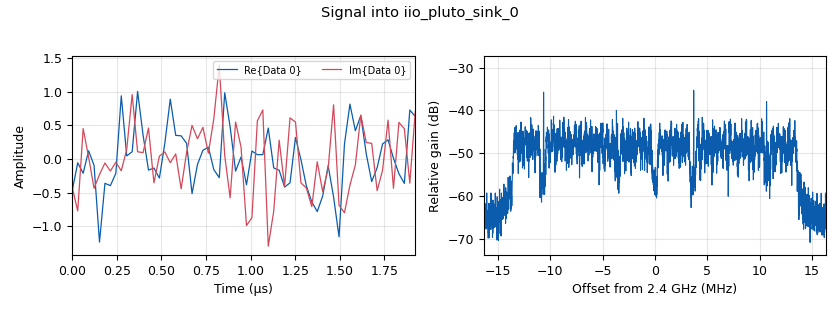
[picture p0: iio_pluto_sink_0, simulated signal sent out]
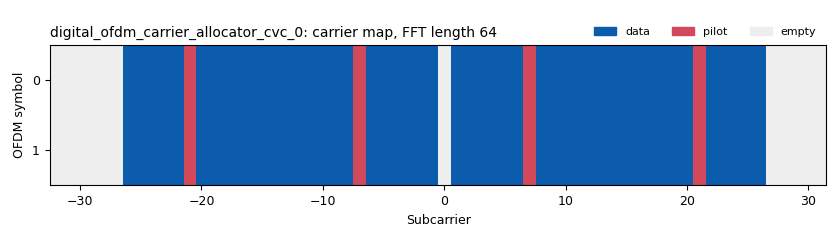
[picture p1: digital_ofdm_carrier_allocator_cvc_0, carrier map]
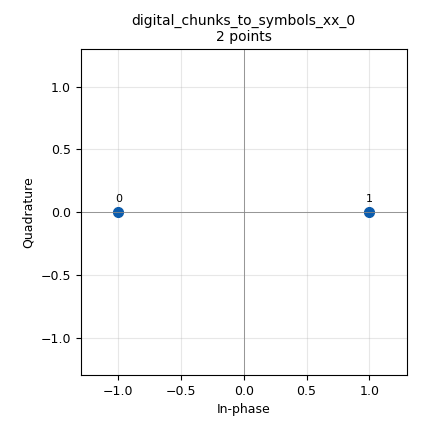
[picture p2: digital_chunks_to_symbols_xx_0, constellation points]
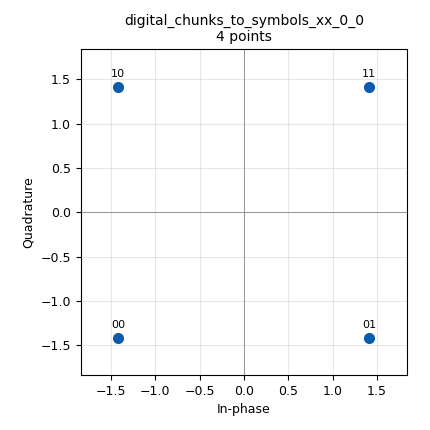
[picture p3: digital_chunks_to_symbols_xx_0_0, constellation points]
options:
  parameters:
    author: mmsuri
    generate_options: qt_gui
    id: ofdm_lab4
    output_language: python
    title: OFDM Lab 4
  states: {}

blocks:
- name: fft_len
  id: variable
  parameters:
    value: '64'
  states: {}
- name: header_equalizer
  id: variable
  parameters:
    value: digital.ofdm_equalizer_simpledfe(fft_len, header_mod.base(), occupied_carriers, pilot_carriers, pilot_symbols)
  states: {}
- name: header_formatter
  id: variable
  parameters:
    value: digital.packet_header_ofdm(occupied_carriers, n_syms=1, len_tag_key=length_tag_key, frame_len_tag_key=length_tag_key, bits_per_header_sym=header_mod.bits_per_symbol(), bits_per_payload_sym=payload_mod.bits_per_symbol(), scramble_header=False)
  states: {}
- name: header_mod
  id: variable
  parameters:
    value: digital.constellation_bpsk()
  states: {}
- name: length_tag_key
  id: variable
  parameters:
    value: '"frame_len"'
  states: {}
- name: occupied_carriers
  id: variable
  parameters:
    value: (list(range(-26, -21)) + list(range(-20, -7)) + list(range(-6, 0)) + list(range(1, 7)) + list(range(8, 21)) + list(range(22, 27)),)
  states: {}
- name: packet_len
  id: variable
  parameters:
    value: '96'
  states: {}
- name: packet_length_tag_key
  id: variable
  parameters:
    value: '"packet_len"'
  states: {}
- name: payload_equalizer
  id: variable
  parameters:
    value: digital.ofdm_equalizer_simpledfe(fft_len, payload_mod.base(), occupied_carriers, pilot_carriers, pilot_symbols, 1)
  states: {}
- name: payload_mod
  id: variable
  parameters:
    value: digital.constellation_qpsk()
  states: {}
- name: pilot_carriers
  id: variable
  parameters:
    value: ((-21, -7, 7, 21,),)
  states: {}
- name: pilot_symbols
  id: variable
  parameters:
    value: ((1, 1, 1, -1,),)
  states: {}
- name: rolloff
  id: variable
  parameters:
    value: '0'
  states: {}
- name: samp_rate
  id: variable
  parameters:
    value: '32000'
  states: {state: disabled}
- name: samp_rate
  id: variable
  parameters:
    value: '61440000'
  states: {}
- name: sync_word1
  id: variable
  parameters:
    value: '[0., 0., 0., 0., 0., 0., 0., 1.41421356, 0., -1.41421356, 0., 1.41421356, 0., -1.41421356, 0., -1.41421356, 0., -1.41421356, 0., 1.41421356, 0., -1.41421356, 0., 1.41421356, 0., -1.41421356, 0., -1.41421356, 0., -1.41421356, 0., -1.41421356, 0., 1.41421356, 0., -1.41421356, 0., 1.41421356, 0., 1.41421356, 0., 1.41421356, 0., -1.41421356, 0., 1.41421356, 0., 1.41421356, 0., 1.41421356, 0., -1.41421356, 0., 1.41421356, 0., 1.41421356, 0., 1.41421356, 0., 0., 0., 0., 0., 0.]'
  states: {}
- name: sync_word2
  id: variable
  parameters:
    value: '[0, 0, 0, 0, 0, 0, -1, -1, -1, -1, 1, 1, -1, -1, -1, 1, -1, 1, 1, 1, 1, 1, -1, -1, -1, -1, -1, 1, -1, -1, 1, -1, 0, 1, -1, 1, 1, 1, -1, 1, 1, 1, -1, 1, 1, 1, 1, -1, 1, -1, -1, -1, 1, -1, 1, -1, -1, -1, -1, 0, 0, 0, 0, 0] '
  states: {}
- name: analog_frequency_modulator_fc_0
  id: analog_frequency_modulator_fc
  parameters:
    sensitivity: '-2.0/fft_len'
  states: {}
- name: analog_random_source_x_0
  id: analog_random_source_x
  parameters:
    max: '255'
    min: '0'
    num_samps: '1000'
    repeat: 'True'
    type: byte
  states: {}
- name: analog_random_source_x_0_0
  id: analog_random_source_x
  parameters:
    max: '255'
    min: '0'
    num_samps: '1000'
    repeat: 'True'
    type: byte
  states: {state: disabled}
- name: blocks_delay_0
  id: blocks_delay
  parameters:
    delay: fft_len+fft_len//4
    type: complex
  states: {}
- name: blocks_multiply_const_vxx_0
  id: blocks_multiply_const_vxx
  parameters:
    const: '0.05'
    type: complex
  states: {}
- name: blocks_multiply_xx_0
  id: blocks_multiply_xx
  parameters:
    type: complex
  states: {}
- name: blocks_repack_bits_bb_0
  id: blocks_repack_bits_bb
  parameters:
    endianness: gr.GR_LSB_FIRST
    k: '8'
    l: payload_mod.bits_per_symbol()
    len_tag_key: length_tag_key
  states: {}
- name: blocks_repack_bits_bb_0_0
  id: blocks_repack_bits_bb
  parameters:
    align_output: 'True'
    endianness: gr.GR_LSB_FIRST
    k: payload_mod.bits_per_symbol()
    l: '8'
    len_tag_key: packet_length_tag_key
  states: {}
- name: blocks_stream_to_tagged_stream_0
  id: blocks_stream_to_tagged_stream
  parameters:
    len_tag_key: length_tag_key
    packet_len: packet_len
    type: byte
  states: {}
- name: blocks_stream_to_tagged_stream_0_0
  id: blocks_stream_to_tagged_stream
  parameters:
    len_tag_key: packet_length_tag_key
    packet_len: packet_len
    type: byte
  states: {state: disabled}
- name: blocks_tag_debug_0
  id: blocks_tag_debug
  parameters:
    display: 'False'
    name: Rx'd Packets
    type: byte
  states: {state: disabled}
- name: blocks_tag_debug_1
  id: blocks_tag_debug
  parameters:
    name: Rx Bytes
    type: byte
  states: {}
- name: blocks_tag_gate_0
  id: blocks_tag_gate
  parameters:
    propagate_tags: 'False'
    type: complex
  states: {}
- name: blocks_tagged_stream_mux_0
  id: blocks_tagged_stream_mux
  parameters:
    lengthtagname: length_tag_key
    ninputs: '2'
    type: complex
  states: {}
- name: blocks_throttle_0
  id: blocks_throttle
  parameters:
    samples_per_second: samp_rate
    type: complex
  states: {}
- name: blocks_throttle_0_0
  id: blocks_throttle
  parameters:
    samples_per_second: samp_rate
    type: complex
  states: {state: disabled}
- name: blocks_throttle_1
  id: blocks_throttle
  parameters:
    samples_per_second: samp_rate
    type: complex
  states: {}
- name: channels_channel_model_0
  id: channels_channel_model
  parameters:
    block_tags: 'True'
    epsilon: '1.0'
    freq_offset: '0.0'
    noise_voltage: '0.0'
    seed: '0'
    taps: 1.0 + 1.0j
  states: {state: disabled}
- name: channels_channel_model_0_0
  id: channels_channel_model
  parameters:
    block_tags: 'True'
    epsilon: '1.0'
    freq_offset: 0 * 1.0/fft_len
    noise_voltage: '0.1'
    seed: '0'
    taps: '1.0'
  states: {state: disabled}
- name: digital_chunks_to_symbols_xx_0
  id: digital_chunks_to_symbols_xx
  parameters:
    dimension: '1'
    in_type: byte
    out_type: complex
    symbol_table: header_mod.points()
  states: {}
- name: digital_chunks_to_symbols_xx_0_0
  id: digital_chunks_to_symbols_xx
  parameters:
    dimension: '1'
    in_type: byte
    out_type: complex
    symbol_table: payload_mod.points()
  states: {}
- name: digital_constellation_decoder_cb_0
  id: digital_constellation_decoder_cb
  parameters:
    constellation: header_mod.base()
  states: {}
- name: digital_constellation_decoder_cb_1
  id: digital_constellation_decoder_cb
  parameters:
    constellation: payload_mod.base()
  states: {}
- name: digital_crc32_bb_0
  id: digital_crc32_bb
  parameters:
    check: 'False'
    lengthtagname: length_tag_key
    packed: 'True'
  states: {}
- name: digital_crc32_bb_0_0
  id: digital_crc32_bb
  parameters:
    check: 'True'
    lengthtagname: packet_length_tag_key
    packed: 'True'
  states: {}
- name: digital_header_payload_demux_0
  id: digital_header_payload_demux
  parameters:
    guard_interval: fft_len//4
    header_len: '3'
    header_padding: '0'
    items_per_symbol: fft_len
    length_tag_key: length_tag_key
    output_symbols: 'True'
    samp_rate: samp_rate
    special_tags: ()
    timing_tag_key: '"rx_time"'
    type: complex
  states: {}
- name: digital_ofdm_carrier_allocator_cvc_0
  id: digital_ofdm_carrier_allocator_cvc
  parameters:
    fft_len: fft_len
    len_tag_key: length_tag_key
    occupied_carriers: occupied_carriers
    output_is_shifted: 'True'
    pilot_carriers: pilot_carriers
    pilot_symbols: pilot_symbols
    sync_words: (sync_word1, sync_word2)
  states: {}
- name: digital_ofdm_chanest_vcvc_0
  id: digital_ofdm_chanest_vcvc
  parameters:
    force_one_symbol: 'False'
    max_carr_offset: '3'
    n_data_symbols: '1'
    sync_symbol1: sync_word1
    sync_symbol2: sync_word2
  states: {}
- name: digital_ofdm_cyclic_prefixer_0
  id: digital_ofdm_cyclic_prefixer
  parameters:
    cp_len: fft_len//4
    input_size: fft_len
    rolloff: rolloff
    tagname: length_tag_key
  states: {}
- name: digital_ofdm_frame_equalizer_vcvc_0
  id: digital_ofdm_frame_equalizer_vcvc
  parameters:
    cp_len: fft_len//4
    equalizer: header_equalizer.base()
    fft_len: fft_len
    fixed_frame_len: '1'
    len_tag_key: length_tag_key
    propagate_channel_state: 'True'
  states: {}
- name: digital_ofdm_frame_equalizer_vcvc_1
  id: digital_ofdm_frame_equalizer_vcvc
  parameters:
    cp_len: fft_len//4
    equalizer: payload_equalizer.base()
    fft_len: fft_len
    len_tag_key: length_tag_key
    propagate_channel_state: 'True'
  states: {}
- name: digital_ofdm_rx_0
  id: digital_ofdm_rx
  parameters:
    cp_len: fft_len//4
    fft_len: fft_len
    header_mod: '"BPSK"'
    occupied_carriers: occupied_carriers
    packet_len_key: '"length"'
    payload_mod: '"QPSK"'
    pilot_carriers: pilot_carriers
    pilot_symbols: pilot_symbols
    sync_word1: sync_word1
    sync_word2: sync_word2
  states: {state: disabled}
- name: digital_ofdm_serializer_vcc_header
  id: digital_ofdm_serializer_vcc
  parameters:
    carr_offset_key: ''
    fft_len: fft_len
    len_tag_key: length_tag_key
    occupied_carriers: occupied_carriers
    packet_len_tag_key: ''
  states: {}
- name: digital_ofdm_serializer_vcc_payload
  id: digital_ofdm_serializer_vcc
  parameters:
    carr_offset_key: ''
    fft_len: fft_len
    len_tag_key: length_tag_key
    occupied_carriers: occupied_carriers
    packet_len_tag_key: packet_length_tag_key
    symbols_skipped: '1'
  states: {}
- name: digital_ofdm_sync_sc_cfb_0
  id: digital_ofdm_sync_sc_cfb
  parameters:
    cp_len: fft_len//4
    fft_len: fft_len
    threshold: '0.9'
  states: {}
- name: digital_ofdm_tx_0
  id: digital_ofdm_tx
  parameters:
    cp_len: fft_len//4
    fft_len: fft_len
    header_mod: '"BPSK"'
    log: 'True'
    occupied_carriers: occupied_carriers
    packet_len_key: packet_length_tag_key
    payload_mod: '"QPSK"'
    pilot_carriers: pilot_carriers
    pilot_symbols: pilot_symbols
    rolloff: '0'
    sync_word1: sync_word1
    sync_word2: sync_word2
  states: {state: disabled}
- name: digital_packet_headergenerator_bb_0
  id: digital_packet_headergenerator_bb
  parameters:
    header_formatter: header_formatter.base()
    len_tag_key: length_tag_key
  states: {}
- name: digital_packet_headerparser_b_0
  id: digital_packet_headerparser_b
  parameters:
    header_formatter: header_formatter.base()
  states: {}
- name: epy_module_0
  id: epy_module
  parameters:
    source_code: |
      import sys
      import os

      # run the command to generate usb.dat
      cmd1 = 'iio_info -s | grep "usb" | awk \'{print $9}\' | awk -F[ \'{print $2}\' | awk -F] \'{print $1}\' > usb.dat'
      os.system(cmd1)

      # open usb.dat and print its entries
      f = open('usb.dat','r')

      strUSB = f.readlines()                  # read all the lines from iio_info -s
      num_devices = len(strUSB)-1             # get the number of devices

      # clean-up
      f.close()                               # close file once we're done.

      # remove file
      cmd2 = 'rm usb.dat'
      os.system(cmd2)


      if num_devices > 0:
          strUSB = strUSB[1:]

          for n in range(num_devices):
              strUSB[n] = strUSB[n].rstrip()  # strip the "\n" chars out

          TX = strUSB[0]
          RX = strUSB[1]

          print('TX set to Pluto: ' + TX)
          print('Rx set to Pluto: ' + RX)
      else:
          print('No Devices Found!')

      print('\n')

      #print(strUSB)                           # debug print          # this module will be imported in the into your flowgraph
  states: {}
- name: fft_vxx_0
  id: fft_vxx
  parameters:
    fft_size: fft_len
    forward: 'False'
    shift: 'True'
    type: complex
    window: ()
  states: {}
- name: fft_vxx_0_0
  id: fft_vxx
  parameters:
    fft_size: fft_len
    forward: 'True'
    shift: 'True'
    type: complex
    window: ()
  states: {}
- name: fft_vxx_1
  id: fft_vxx
  parameters:
    fft_size: fft_len
    forward: 'True'
    shift: 'True'
    type: complex
    window: ()
  states: {}
- name: header_bits
  id: virtual_sink
  parameters:
    stream_id: Header Bits
  states: {}
- name: iio_pluto_sink_0
  id: iio_pluto_sink
  parameters:
    attenuation1: '10.0'
    auto_filter: 'True'
    bandwidth: '20000000'
    buffer_size: '32768'
    cyclic: 'False'
    frequency: '2400000000'
    samplerate: '32768000'
    uri: epy_module_0.TX
  states: {}
- name: iio_pluto_source_0
  id: iio_pluto_source
  parameters:
    auto_filter: 'True'
    bandwidth: '20000000'
    bbdc: 'True'
    buffer_size: '32768'
    frequency: '2400000000'
    gain1: '''manual'''
    manual_gain1: '64'
    quadrature: 'True'
    rfdc: 'True'
    samplerate: '32768000'
    uri: epy_module_0.RX
  states: {}
- name: import_1
  id: import
  parameters:
    imports: from gnuradio.digital.utils import tagged_streams
  states: {}
- name: qtgui_const_sink_x_0
  id: qtgui_const_sink_x
  parameters:
    size: '1024'
    type: complex
  states: {}
- name: qtgui_freq_sink_x_0
  id: qtgui_freq_sink_x
  parameters:
    autoscale: 'True'
    bw: samp_rate
    fc: '0'
    fftsize: '1024'
    name: FFT Plot
    showports: 'True'
    type: complex
    wintype: firdes.WIN_BLACKMAN_hARRIS
  states: {state: disabled}
- name: qtgui_freq_sink_x_1
  id: qtgui_freq_sink_x
  parameters:
    bw: samp_rate
    fc: '0'
    fftsize: '1024'
    type: complex
    wintype: firdes.WIN_BLACKMAN_hARRIS
  states: {}
- name: qtgui_time_sink_x_0
  id: qtgui_time_sink_x
  parameters:
    autoscale: 'True'
    label1: Scope Plot
    label2: ''
    name: Scope Plot
    size: '1024'
    srate: samp_rate
    type: complex
  states: {state: disabled}
- name: qtgui_time_sink_x_2
  id: qtgui_time_sink_x
  parameters:
    size: '1024'
    srate: samp_rate
    type: complex
  states: {}
- name: virtual_sink_0
  id: virtual_sink
  parameters:
    stream_id: Time Domain
  states: {}
- name: virtual_sink_0_0
  id: virtual_sink
  parameters:
    stream_id: Payload Bits
  states: {}
- name: virtual_sink_0_0_0
  id: virtual_sink
  parameters:
    stream_id: Pre-OFDM
  states: {}
- name: virtual_sink_0_1
  id: virtual_sink
  parameters:
    stream_id: Header Stream
  states: {}
- name: virtual_sink_1
  id: virtual_sink
  parameters:
    stream_id: Tx Signal
  states: {state: disabled}
- name: virtual_sink_1_0
  id: virtual_sink
  parameters:
    stream_id: Payload IQ
  states: {}
- name: virtual_sink_1_1
  id: virtual_sink
  parameters:
    stream_id: Payload Stream
  states: {}
- name: virtual_sink_2
  id: virtual_sink
  parameters:
    stream_id: Rx Bytes
  states: {state: disabled}
- name: virtual_source_0
  id: virtual_source
  parameters:
    stream_id: Header Bits
  states: {}
- name: virtual_source_0_0
  id: virtual_source
  parameters:
    stream_id: Payload Bits
  states: {}
- name: virtual_source_0_0_0
  id: virtual_source
  parameters:
    stream_id: Pre-OFDM
  states: {}
- name: virtual_source_0_0_0_0
  id: virtual_source
  parameters:
    stream_id: Time Domain
  states: {}
- name: virtual_source_0_0_1
  id: virtual_source
  parameters:
    stream_id: Payload IQ
  states: {}
- name: virtual_source_0_1
  id: virtual_source
  parameters:
    stream_id: Header Stream
  states: {}
- name: virtual_source_1
  id: virtual_source
  parameters:
    stream_id: Tx Signal
  states: {state: disabled}
- name: virtual_source_1_0
  id: virtual_source
  parameters:
    stream_id: Payload Stream
  states: {}
- name: virtual_source_2
  id: virtual_source
  parameters:
    stream_id: Tx Signal
  states: {state: disabled}

connections:
- [analog_frequency_modulator_fc_0, '0', blocks_multiply_xx_0, '0']
- [analog_random_source_x_0, '0', blocks_stream_to_tagged_stream_0, '0']
- [analog_random_source_x_0_0, '0', blocks_stream_to_tagged_stream_0_0, '0']
- [blocks_delay_0, '0', blocks_multiply_xx_0, '1']
- [blocks_multiply_const_vxx_0, '0', blocks_tag_gate_0, '0']
- [blocks_multiply_xx_0, '0', digital_header_payload_demux_0, '0']
- [blocks_repack_bits_bb_0, '0', virtual_sink_0_0, '0']
- [blocks_repack_bits_bb_0_0, '0', digital_crc32_bb_0_0, '0']
- [blocks_stream_to_tagged_stream_0, '0', digital_crc32_bb_0, '0']
- [blocks_stream_to_tagged_stream_0_0, '0', digital_ofdm_tx_0, '0']
- [blocks_tag_gate_0, '0', blocks_throttle_0, '0']
- [blocks_tagged_stream_mux_0, '0', virtual_sink_0_0_0, '0']
- [blocks_throttle_0, '0', iio_pluto_sink_0, '0']
- [blocks_throttle_0, '0', qtgui_freq_sink_x_0, '0']
- [blocks_throttle_0, '0', virtual_sink_1, '0']
- [blocks_throttle_0_0, '0', blocks_delay_0, '0']
- [blocks_throttle_0_0, '0', digital_ofdm_sync_sc_cfb_0, '0']
- [blocks_throttle_1, '0', blocks_delay_0, '0']
- [blocks_throttle_1, '0', digital_ofdm_sync_sc_cfb_0, '0']
- [blocks_throttle_1, '0', qtgui_freq_sink_x_1, '0']
- [blocks_throttle_1, '0', qtgui_time_sink_x_2, '0']
- [channels_channel_model_0, '0', digital_ofdm_rx_0, '0']
- [channels_channel_model_0_0, '0', blocks_throttle_0_0, '0']
- [digital_chunks_to_symbols_xx_0, '0', blocks_tagged_stream_mux_0, '0']
- [digital_chunks_to_symbols_xx_0_0, '0', blocks_tagged_stream_mux_0, '1']
- [digital_constellation_decoder_cb_0, '0', digital_packet_headerparser_b_0, '0']
- [digital_constellation_decoder_cb_1, '0', blocks_repack_bits_bb_0_0, '0']
- [digital_crc32_bb_0, '0', blocks_repack_bits_bb_0, '0']
- [digital_crc32_bb_0, '0', digital_packet_headergenerator_bb_0, '0']
- [digital_crc32_bb_0_0, '0', blocks_tag_debug_1, '0']
- [digital_crc32_bb_0_0, '0', virtual_sink_2, '0']
- [digital_header_payload_demux_0, '0', virtual_sink_0_1, '0']
- [digital_header_payload_demux_0, '1', virtual_sink_1_1, '0']
- [digital_ofdm_carrier_allocator_cvc_0, '0', fft_vxx_0, '0']
- [digital_ofdm_chanest_vcvc_0, '0', digital_ofdm_frame_equalizer_vcvc_0, '0']
- [digital_ofdm_cyclic_prefixer_0, '0', virtual_sink_0, '0']
- [digital_ofdm_frame_equalizer_vcvc_0, '0', digital_ofdm_serializer_vcc_header, '0']
- [digital_ofdm_frame_equalizer_vcvc_1, '0', digital_ofdm_serializer_vcc_payload, '0']
- [digital_ofdm_rx_0, '0', blocks_tag_debug_0, '0']
- [digital_ofdm_serializer_vcc_header, '0', digital_constellation_decoder_cb_0, '0']
- [digital_ofdm_serializer_vcc_payload, '0', virtual_sink_1_0, '0']
- [digital_ofdm_sync_sc_cfb_0, '0', analog_frequency_modulator_fc_0, '0']
- [digital_ofdm_sync_sc_cfb_0, '1', digital_header_payload_demux_0, '1']
- [digital_ofdm_tx_0, '0', channels_channel_model_0_0, '0']
- [digital_packet_headergenerator_bb_0, '0', header_bits, '0']
- [digital_packet_headerparser_b_0, header_data, digital_header_payload_demux_0, header_data]
- [fft_vxx_0, '0', digital_ofdm_cyclic_prefixer_0, '0']
- [fft_vxx_0_0, '0', digital_ofdm_chanest_vcvc_0, '0']
- [fft_vxx_1, '0', digital_ofdm_frame_equalizer_vcvc_1, '0']
- [iio_pluto_source_0, '0', blocks_throttle_1, '0']
- [virtual_source_0, '0', digital_chunks_to_symbols_xx_0, '0']
- [virtual_source_0_0, '0', digital_chunks_to_symbols_xx_0_0, '0']
- [virtual_source_0_0_0, '0', digital_ofdm_carrier_allocator_cvc_0, '0']
- [virtual_source_0_0_0_0, '0', blocks_multiply_const_vxx_0, '0']
- [virtual_source_0_0_1, '0', digital_constellation_decoder_cb_1, '0']
- [virtual_source_0_0_1, '0', qtgui_const_sink_x_0, '0']
- [virtual_source_0_1, '0', fft_vxx_0_0, '0']
- [virtual_source_1, '0', channels_channel_model_0, '0']
- [virtual_source_1_0, '0', fft_vxx_1, '0']
- [virtual_source_2, '0', blocks_delay_0, '0']
- [virtual_source_2, '0', digital_ofdm_sync_sc_cfb_0, '0']

metadata:
  file_format: 1
